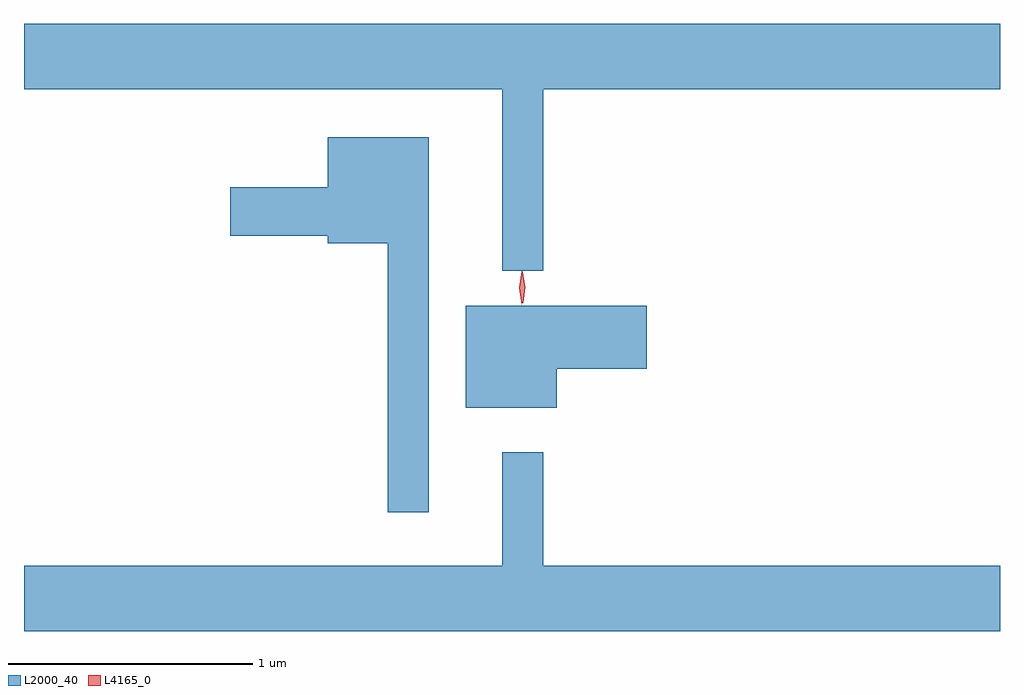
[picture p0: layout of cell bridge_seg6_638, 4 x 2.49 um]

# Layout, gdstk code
import gdstk
lib = gdstk.Library(unit=1e-6, precision=1e-09)
def P(c, l, *ps):  # polygons
    for p in ps: c.add(gdstk.Polygon(p, *l))
L2000_40 = (2000, 40)
L4165_0 = (4165, 0)

bridge_seg6_638 = lib.new_cell('bridge_seg6_638')
P(bridge_seg6_638, L2000_40, [(239.119,1629.956),(240.991,1629.956),(240.991,1630.224),(236.991,1630.224),(236.991,1629.956),(238.951,1629.956),(238.951,1629.213),(239.119,1629.213)],
  [(238.649,1629.759),(238.236,1629.759),(238.236,1629.554),(237.836,1629.554),(237.836,1629.356),(238.236,1629.356),(238.236,1629.326),(238.481,1629.326),(238.481,1628.223),(238.649,1628.223)],
  [(239.174,1628.811),(239.544,1628.811),(239.544,1629.069),(238.801,1629.069),(238.801,1628.651),(239.174,1628.651)],
  [(240.991,1628.004),(239.119,1628.004),(239.119,1628.468),(238.951,1628.468),(238.951,1628.004),(236.991,1628.004),(236.991,1627.736),(240.991,1627.736)])
P(bridge_seg6_638, L4165_0, [(239.036,1629.08),(239.036,1629.081),(239.026,1629.144),(239.034,1629.206),(239.035,1629.207),(239.036,1629.206),(239.046,1629.144),(239.037,1629.081)],
  [(239.03,1629.074),(239.03,1629.074),(239.021,1629.142),(239.031,1629.21),(239.032,1629.21),(239.032,1629.21),(239.041,1629.142),(239.031,1629.074)])

lib.write_gds('bridge_seg6_638.gds')
